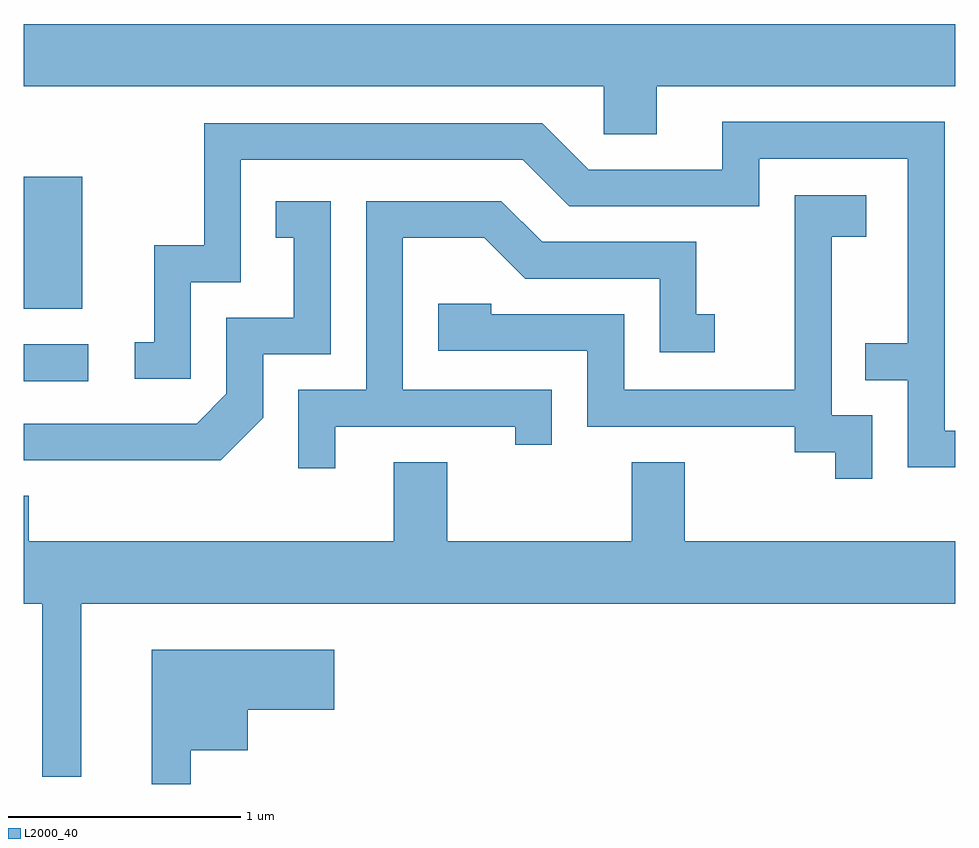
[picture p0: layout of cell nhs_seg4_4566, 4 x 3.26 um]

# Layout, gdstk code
import gdstk
lib = gdstk.Library(unit=1e-6, precision=1e-09)
def R(c, l, rs):  # rectangles x0, y0, x1, y1
    for r in rs: c.add(gdstk.rectangle(r[:2], r[2:], *l))
def P(c, l, *ps):  # polygons
    for p in ps: c.add(gdstk.Polygon(p, *l))
L2000_40 = (2000, 40)

nhs_seg4_4566 = lib.new_cell('nhs_seg4_4566')
R(nhs_seg4_4566, L2000_40, [(319.611,1275.711,319.888,1275.869), (319.611,1276.021,319.864,1276.589)])
P(nhs_seg4_4566, L2000_40, [(322.329,1276.976),(323.611,1276.976),(323.611,1277.244),(319.611,1277.244),(319.611,1276.976),(322.101,1276.976),(322.101,1276.771),(322.329,1276.771)],
  [(323.611,1275.499),(323.564,1275.499),(323.564,1276.824),(322.611,1276.824),(322.611,1276.619),(322.037,1276.619),(321.837,1276.819),(320.386,1276.819),(320.386,1276.294),(320.171,1276.294),(320.171,1275.879),(320.088,1275.879),(320.088,1275.721),(320.329,1275.721),(320.329,1276.136),(320.544,1276.136),(320.544,1276.661),(321.754,1276.661),(321.954,1276.461),(322.769,1276.461),(322.769,1276.666),(323.406,1276.666),(323.406,1275.874),(323.223,1275.874),(323.223,1275.716),(323.406,1275.716),(323.406,1275.341),(323.611,1275.341)],
  [(323.254,1275.564),(323.079,1275.564),(323.079,1276.331),(323.229,1276.331),(323.229,1276.509),(322.921,1276.509),(322.921,1275.674),(322.189,1275.674),(322.189,1275.999),(321.619,1275.999),(321.619,1276.044),(321.391,1276.044),(321.391,1275.841),(322.031,1275.841),(322.031,1275.516),(322.921,1275.516),(322.921,1275.406),(323.096,1275.406),(323.096,1275.293),(323.254,1275.293)],
  [(320.949,1275.516),(321.721,1275.516),(321.721,1275.438),(321.879,1275.438),(321.879,1275.674),(321.239,1275.674),(321.239,1276.326),(321.589,1276.326),(321.764,1276.151),(322.341,1276.151),(322.341,1275.836),(322.578,1275.836),(322.578,1275.999),(322.499,1275.999),(322.499,1276.309),(321.837,1276.309),(321.662,1276.484),(321.081,1276.484),(321.081,1275.674),(320.791,1275.674),(320.791,1275.338),(320.949,1275.338)],
  [(320.639,1275.554),(320.639,1275.826),(320.929,1275.826),(320.929,1276.484),(320.693,1276.484),(320.693,1276.326),(320.771,1276.326),(320.771,1275.984),(320.481,1275.984),(320.481,1275.657),(320.354,1275.529),(319.611,1275.529),(319.611,1275.371),(320.457,1275.371)],
  [(319.859,1274.756),(323.611,1274.756),(323.611,1275.024),(322.449,1275.024),(322.449,1275.364),(322.221,1275.364),(322.221,1275.024),(321.429,1275.024),(321.429,1275.364),(321.201,1275.364),(321.201,1275.024),(319.634,1275.024),(319.634,1275.219),(319.611,1275.219),(319.611,1274.756),(319.691,1274.756),(319.691,1274.013),(319.859,1274.013)],
  [(320.329,1274.126),(320.574,1274.126),(320.574,1274.301),(320.944,1274.301),(320.944,1274.559),(320.161,1274.559),(320.161,1273.982),(320.329,1273.982)])

lib.write_gds('nhs_seg4_4566.gds')
